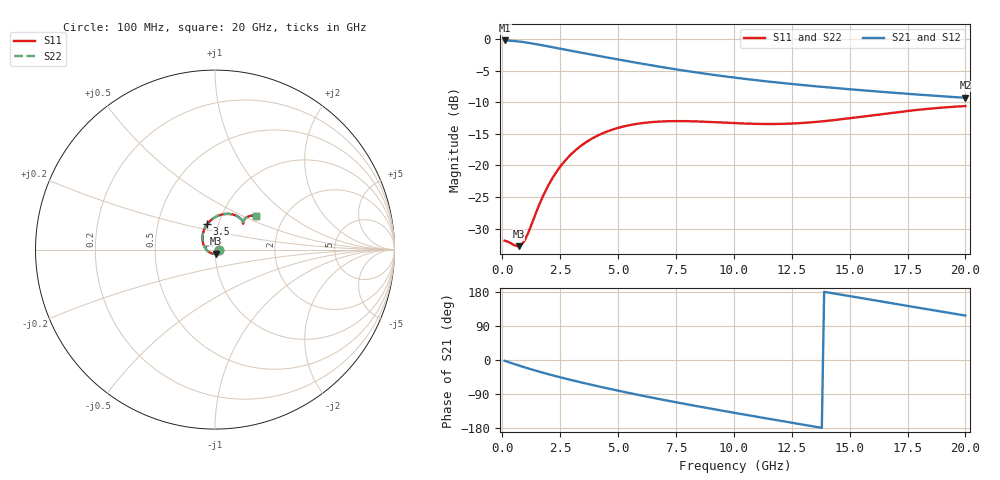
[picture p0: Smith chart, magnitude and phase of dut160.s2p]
! Created with skrf 1.9.0 (http://scikit-rf.org).
# GHz S RI R 50.0
!freq ReS11 ImS11 ReS21 ImS21 ReS12 ImS12 ReS22 ImS22
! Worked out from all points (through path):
!   200 points, 100 MHz to 20 GHz, reference 50 ohm
!   highest |S21| = -0.23 dB at 100 MHz (marker M1); lowest = -9.3 dB at 20 GHz (marker M2)
!   group delay of S21, straight-line fit = 32 ps
!   lowest |S11| = -32.8 dB at 700 MHz (marker M3), VSWR 1.05, Z = 50.4 - j2.28 ohm
!   |S11| at or under -10 dB: start of sweep to end of sweep
!   |S22| runs from -32.8 to -10.6 dB; largest |S21 - S12| = 2.1e-15
!   S11 on the Smith chart (normalised r, x): 100 MHz: 1.05, -0.01; 3.5 GHz: 0.88, +0.25; 20 GHz: 1.45, +0.59
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0.1  0.025 -0.00432  0.9735 -0.0351  0.9735 -0.0351  0.025 -0.00432
0.4  0.0182 -0.0158  0.9583 -0.1386  0.9583 -0.1386  0.0182 -0.0158
0.7  0.00417 -0.0226  0.9273 -0.2352  0.9273 -0.2352  0.00417 -0.0226
0.8  -0.00159 -0.0233  0.914 -0.2654  0.914 -0.2654  -0.00159 -0.0233
1  -0.014 -0.0222  0.8837 -0.3221  0.8837 -0.3221  -0.014 -0.0222
1.7  -0.0537 0.00723  0.7533 -0.4819  0.7533 -0.4819  -0.0537 0.00723
2.2  -0.0682 0.0441  0.6497 -0.5622  0.6497 -0.5622  -0.0682 0.0441
2.8  -0.0666 0.0922  0.524 -0.6288  0.524 -0.6288  -0.0666 0.0922
3.5  -0.0439 0.1409  0.3814 -0.6736  0.3814 -0.6736  -0.0439 0.1409
4.2  -0.00862 0.1749  0.2474 -0.6897  0.2474 -0.6897  -0.00862 0.1749
4.9  0.0303 0.1934  0.1248 -0.6829  0.1248 -0.6829  0.0303 0.1934
5.8  0.0762 0.199  -0.0132 -0.6486  -0.0132 -0.6486  0.0762 0.199
6.8  0.1151 0.1903  -0.1392 -0.5874  -0.1392 -0.5874  0.1151 0.1903
7.6  0.136 0.1784  -0.2203 -0.5276  -0.2203 -0.5276  0.136 0.1784
8.4  0.1488 0.166  -0.2856 -0.4622  -0.2856 -0.4622  0.1488 0.166
10.1  0.1577 0.1474  -0.3792 -0.3155  -0.3792 -0.3155  0.1577 0.1474
11.7  0.1562 0.1444  -0.4206 -0.1772  -0.4206 -0.1772  0.1562 0.1444
13.4  0.1565 0.1542  -0.4234 -0.0379  -0.4234 -0.0379  0.1565 0.1542
15  0.1649 0.1692  -0.3926 0.0796  -0.3926 0.0796  0.1649 0.1692
16.7  0.1831 0.1832  -0.3308 0.1833  -0.3308 0.1833  0.1831 0.1832
18.4  0.207 0.1894  -0.2472 0.2599  -0.2472 0.2599  0.207 0.1894
20  0.2291 0.186  -0.1569 0.3047  -0.1569 0.3047  0.2291 0.186
